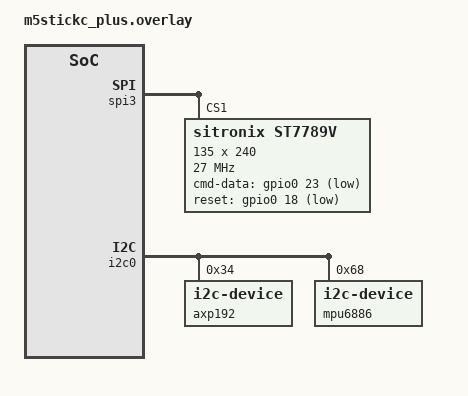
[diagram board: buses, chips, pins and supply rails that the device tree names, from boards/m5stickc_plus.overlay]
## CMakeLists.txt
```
#-------------------------------------------------------------------------------
# Zephyr Example Application
#
# Copyright (c) 2021 Nordic Semiconductor ASA
# SPDX-License-Identifier: Apache-2.0

# Build for the M5StickC Plus board by default
set(BOARD m5stickc_plus)

cmake_minimum_required(VERSION 3.13.1)
add_definitions(-D__CDT_PARSER__)

find_package(Zephyr REQUIRED HINTS $ENV{ZEPHYR_BASE})

project(app LANGUAGES C VERSION 1.0.0)

configure_file(app_version.h.in ${CMAKE_BINARY_DIR}/app/include/app_version.h)
target_include_directories(app PRIVATE ${CMAKE_BINARY_DIR}/app/include src)

target_sources(app PRIVATE src/main.c)
```

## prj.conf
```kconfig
# Copyright (c) 2021 Nordic Semiconductor ASA
# SPDX-License-Identifier: Apache-2.0
#
# This file contains selected Kconfig options for the application.

CONFIG_SENSOR=y




CONFIG_LV_Z_MEM_POOL_NUMBER_BLOCKS=8
CONFIG_MAIN_STACK_SIZE=2048

CONFIG_DISPLAY=y
CONFIG_DISPLAY_LOG_LEVEL_ERR=y

CONFIG_LOG=y

CONFIG_LVGL=y
CONFIG_LV_CONF_MINIMAL=y

CONFIG_LV_MEM_CUSTOM=y
CONFIG_LV_USE_CHART=y
CONFIG_LV_USE_THEME_DEFAULT=y
CONFIG_LV_DRAW_COMPLEX=y

CONFIG_SENSOR=y
CONFIG_I2C=y
CONFIG_CBPRINTF_FP_SUPPORT=y
```

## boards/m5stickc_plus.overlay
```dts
/ {
	chosen {
		zephyr,display = &st7789v;
	};
};

&spi3 {
	st7789v: st7789v@1 {
		compatible = "sitronix,st7789v";
		reg = <1>;
		spi-max-frequency = <27000000>; /* 27MHz */
		cmd-data-gpios = <&gpio0 23 GPIO_ACTIVE_LOW>;	/* DET */
		reset-gpios = <&gpio0 18 GPIO_ACTIVE_LOW>;	/* RESX reset */
		width = <135>;
		height = <240>;
		x-offset = <40>; // TODO: check
		y-offset = <53>; // TODO: check
		vcom = <0x28>;
		gctrl = <0x35>;
		vrhs = <0x10>;
		vdvs = <0x20>;
		mdac = <0x08>;
		gamma = <0x01>;
		colmod = <0x55>;
		lcm = <0x0c>;
		porch-param = [0c 0c 00 33 33];
		cmd2en-param = [5a 69 02 00];
		pwctrl1-param = [a4 a1];
		pvgam-param = [D0 00 02 07 0a 28 32 44 42 06 0e 12 14 17];
		nvgam-param = [D0 00 02 07 0a 28 31 54 47 0e 1c 17 1b 1e];
		ram-param = [00 F0];
		rgb-param = [40 02 14];
	};
};

&i2c0 {
	axp192@34 {
		compatible = "i2c-device";
		reg = <0x34>;
	};

	mpu6886@68 {
		compatible = "i2c-device";
		reg = <0x68>;
	};
};
```

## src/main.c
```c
/*
 * Copyright (c) 2018 Jan Van Winkel <jan.van_winkel@dxplore.eu>
 *
 * SPDX-License-Identifier: Apache-2.0
 */

#include <zephyr/device.h>
#include <zephyr/devicetree.h>
#include <zephyr/drivers/display.h>
#include <zephyr/drivers/gpio.h>
#include <zephyr/drivers/sensor.h>

// test

#include <lvgl.h>
#include <stdio.h>
#include <string.h>
#include <zephyr/kernel.h>

#define LOG_LEVEL CONFIG_LOG_DEFAULT_LEVEL
#include <zephyr/logging/log.h>
LOG_MODULE_REGISTER(app);

static lv_obj_t * chart1;
static lv_chart_series_t * ser_x;
static lv_chart_series_t * ser_y;
static lv_chart_series_t * ser_z;

const struct device *display_dev;
const struct device *sensor;

static void fetch_and_display(lv_timer_t * timer)
{
	static unsigned int count;
	struct sensor_value accel[3];
	const char *overrun = "";
	int rc = sensor_sample_fetch(sensor);

	++count;
	if (rc == -EBADMSG) {
		/* Sample overrun.  Ignore in polled mode. */
		if (IS_ENABLED(CONFIG_LIS2DH_TRIGGER)) {
			overrun = "[OVERRUN] ";
		}
		rc = 0;
	}
	if (rc == 0) {
		rc = sensor_channel_get(sensor,
					SENSOR_CHAN_ACCEL_XYZ,
					accel);
	}
	if (rc < 0) {
		LOG_ERR("ERROR: Update failed: %d\n", rc);
	} else {
	    lv_chart_set_next_value(chart1, ser_x, sensor_value_to_double(&accel[0]));
	    lv_chart_set_next_value(chart1, ser_y, sensor_value_to_double(&accel[1]));
	    lv_chart_set_next_value(chart1, ser_z, sensor_value_to_double(&accel[2]));
	}
}

void accelerometer_chart(void)
{
    chart1 = lv_chart_create(lv_scr_act());
    lv_obj_set_size(chart1, 320, 240);
    lv_obj_center(chart1);
    lv_chart_set_type(chart1, LV_CHART_TYPE_LINE);

    lv_chart_set_div_line_count(chart1, 5, 8);

	lv_chart_set_range(chart1, LV_CHART_AXIS_PRIMARY_Y, -20, 20);

    lv_chart_set_update_mode(chart1, LV_CHART_UPDATE_MODE_SHIFT);

    ser_x = lv_chart_add_series(chart1, lv_palette_main(LV_PALETTE_RED), LV_CHART_AXIS_PRIMARY_Y);
    ser_y = lv_chart_add_series(chart1, lv_palette_main(LV_PALETTE_BLUE), LV_CHART_AXIS_PRIMARY_Y);
    ser_z = lv_chart_add_series(chart1, lv_palette_main(LV_PALETTE_GREEN), LV_CHART_AXIS_PRIMARY_Y);

	lv_chart_set_point_count(chart1, 50);
    /*Do not display points on the data*/
    lv_obj_set_style_size(chart1, 0, LV_PART_INDICATOR);

    lv_timer_create(fetch_and_display, 10, NULL);
}  

void main(void)
{
	int err;

	display_dev = DEVICE_DT_GET(DT_CHOSEN(zephyr_display));
	if (!device_is_ready(display_dev)) {
		LOG_ERR("Device not ready, aborting test");
		return;
	}

	sensor = DEVICE_DT_GET_ANY(st_lis2dh);
	if (sensor == NULL) {
		LOG_ERR("No lis2dh/lis3dh device found\n");
		return;
	}
	if (!device_is_ready(sensor)) {
		LOG_ERR("Device %s is not ready\n", sensor->name);
		return;
	}

	accelerometer_chart();

	// add buffer overflow bug
	char *buf = k_malloc(18);
	sprintf(buf, "Overflow much? %d", 123456789);

	display_blanking_off(display_dev);

	while (1) {
		lv_task_handler();
		k_sleep(K_MSEC(5));
	}
}
```
